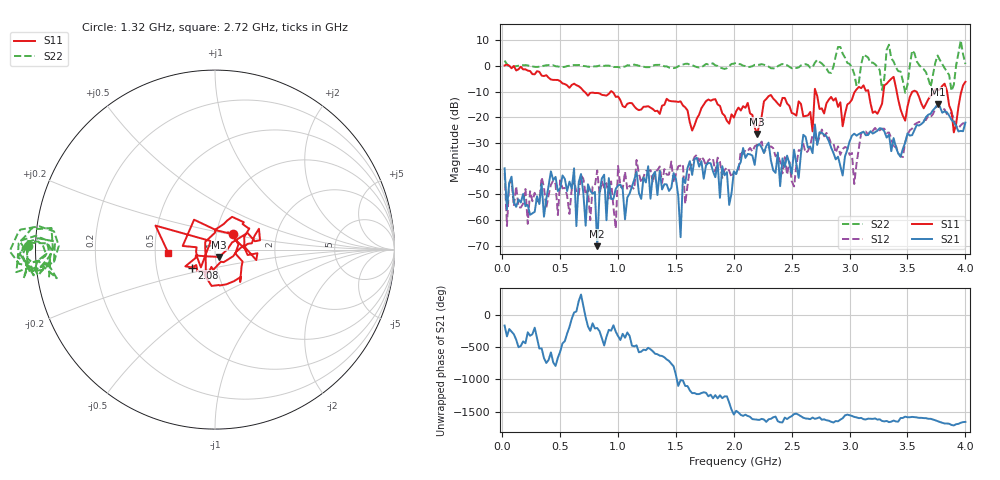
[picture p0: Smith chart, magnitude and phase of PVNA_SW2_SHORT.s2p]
! PocketVna 1.78  pocketvna.com
! Live measurements ((Reflection-S11, Transmission-S21, Transmission-S12, Reflection-S22) Linear 500000-4000000000/201 calibrated)
# Hz S RI R 50
! Hz  ReS11  ImS11  ReS21  ImS21  ReS12  ImS12  ReS22  ImS22
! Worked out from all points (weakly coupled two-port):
!   200 points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, 20.5 MHz to 4 GHz, reference 50 ohm
!   highest |S21| = -14.89 dB at 3.76 GHz (marker M1); lowest = -70.2 dB at 820.4 MHz (marker M2)
!   lowest |S11| = -26.5 dB at 2.2 GHz (marker M3), VSWR 1.10, Z = 52.3 - j4.29 ohm
!   |S11| at or under -10 dB: 707.6 MHz to 937.2 MHz (229.6 MHz wide, 27.9 % of centre); 945.8 MHz to 2.699 GHz (1.753 GHz wide, 96.2 % of centre); 2.708 GHz to 3.047 GHz (338.8 MHz wide, 11.8 % of centre) (the widest 3 of 7)
!   |S22| runs from -10.5 to 9.9 dB; largest |S21 - S12| = 0.043
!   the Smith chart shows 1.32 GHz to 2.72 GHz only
!   S11 on the Smith chart (normalised r, x): 1.32 GHz: 1.20, +0.21; 2.08 GHz: 0.76, -0.16; 2.72 GHz: 0.59, -0.03
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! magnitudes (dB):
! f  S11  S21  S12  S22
! 20.5 MHz  0.2  -39.9  -41.7  2.0
! 40.49 MHz  0.5  -56.0  -62.4  0.7
! 700.4 MHz  -9.7  -49.5  -44.0  0.0
! 820.4 MHz  -10.6  -70.2  -40.7  -0.2
! 880.4 MHz  -11.4  -42.4  -47.5  0.0
! 980.4 MHz  -12.1  -47.9  -63.3  -0.5
! 1.06 GHz  -16.1  -59.8  -41.3  -0.3
! 1.32 GHz  -17.6  -41.2  -40.8  0.4
! 1.36 GHz  -18.7  -40.9  -39.2  0.4
! 1.54 GHz  -13.8  -66.7  -38.8  0.2
! 1.62 GHz  -22.1  -37.1  -40.1  0.5
! 2.02 GHz  -17.7  -42.1  -42.0  1.2
! 2.08 GHz  -15.7  -32.0  -34.3  0.1
! 2.2 GHz  -26.5  -31.4  -30.7  0.4
! 2.52 GHz  -18.7  -32.6  -47.0  -0.6
! 2.68 GHz  -25.5  -34.0  -26.9  -0.6
! 2.72 GHz  -11.7  -30.8  -30.4  2.3
! 3.04 GHz  -10.4  -26.4  -46.0  -3.2
! 3.34 GHz  -5.9  -26.8  -25.9  8.2
! 3.76 GHz  -9.6  -14.9  -15.2  4.0
! 3.9 GHz  -25.9  -21.9  -20.7  -7.4
! 4 GHz  -6.2  -22.1  -22.6  0.7
